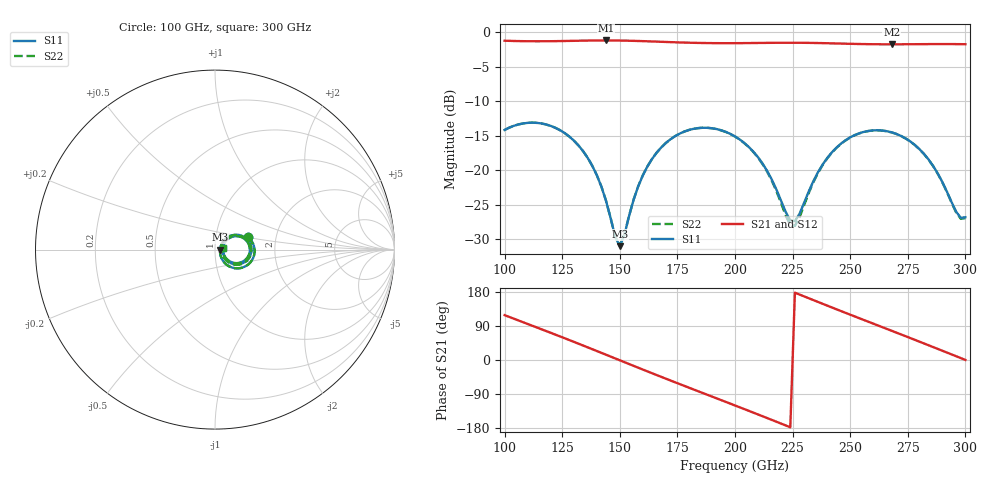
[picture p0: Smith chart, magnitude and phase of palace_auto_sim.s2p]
#  GHZ S DB R 50
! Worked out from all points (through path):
!   101 points, 100 GHz to 300 GHz, reference 50 ohm
!   highest |S21| = -1.19 dB at 144 GHz (marker M1); lowest = -1.7 dB at 268 GHz (marker M2)
!   group delay of S21, straight-line fit = 6.65 ps
!   lowest |S11| = -31.0 dB at 150 GHz (marker M3), VSWR 1.06, Z = 52.9 - j0.118 ohm
!   |S11| at or under -10 dB: start of sweep to end of sweep
!   |S22| runs from -30.9 to -13.1 dB; largest |S21 - S12| = 1e-13
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100  -14.17 20.7  -1.22 118.4  -1.22 118.4  -14.16 20.4
116  -13.22 -11.7  -1.31 81.1  -1.31 81.1  -13.23 -12.0
124  -14.18 -27.8  -1.28 62.3  -1.28 62.3  -14.19 -28.2
134  -17.21 -46.4  -1.22 38.4  -1.22 38.4  -17.21 -46.7
144  -24.42 -52.9  -1.19 14.0  -1.19 14.0  -24.42 -53.1
150  -31.02 -2.3  -1.20 -0.8  -1.20 -0.8  -30.95 -2.6
158  -22.33 46.0  -1.26 -20.3  -1.26 -20.3  -22.31 45.3
168  -16.70 34.6  -1.38 -44.5  -1.38 -44.5  -16.69 33.8
184  -13.90 4.8  -1.54 -82.4  -1.54 -82.4  -13.90 3.9
200  -15.10 -24.4  -1.58 -120.0  -1.58 -120.0  -15.12 -25.8
212  -19.05 -40.7  -1.54 -148.5  -1.54 -148.5  -19.14 -42.7
224  -27.26 -11.9  -1.52 -177.5  -1.52 -177.5  -27.93 -13.4
228  -26.33 21.6  -1.52 172.7  -1.52 172.7  -26.85 23.1
234  -21.60 38.9  -1.55 158.1  -1.55 158.1  -21.76 40.3
242  -17.43 33.7  -1.61 138.8  -1.61 138.8  -17.48 34.3
252  -14.90 17.5  -1.69 114.9  -1.69 114.9  -14.93 17.6
260  -14.22 2.7  -1.73 96.0  -1.73 96.0  -14.24 2.7
268  -14.51 -12.1  -1.75 77.1  -1.75 77.1  -14.52 -12.3
276  -15.81 -25.9  -1.74 58.1  -1.74 58.1  -15.83 -26.4
286  -19.39 -38.3  -1.71 34.1  -1.71 34.1  -19.42 -39.0
296  -26.02 -20.9  -1.72 9.9  -1.72 9.9  -26.15 -21.7
300  -26.82 9.0  -1.73 0.2  -1.73 0.2  -26.95 8.8
